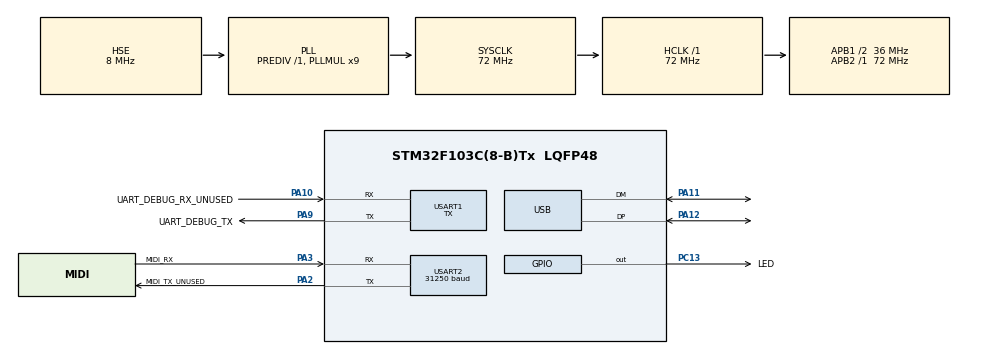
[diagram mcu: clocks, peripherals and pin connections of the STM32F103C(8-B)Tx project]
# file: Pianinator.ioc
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Mcu.Family=STM32F1
Mcu.Name=STM32F103C(8-B)Tx
Mcu.Package=LQFP48
NVIC.PriorityGroup=NVIC_PRIORITYGROUP_4
NVIC.USART1_IRQn=true\:0\:0\:false\:false\:true\:true\:true\:true
NVIC.USART2_IRQn=true\:0\:0\:false\:false\:true\:true\:true\:true
NVIC.USB_LP_CAN1_RX0_IRQn=true\:0\:0\:false\:false\:true\:false\:true\:true
PA10.GPIO_Label=UART_DEBUG_RX_UNUSED
PA10.Mode=Asynchronous
PA10.Signal=USART1_RX
PA11.Mode=Device
PA11.Signal=USB_DM
PA12.Mode=Device
PA12.Signal=USB_DP
PA2.GPIO_Label=MIDI_TX_UNUSED
PA2.Mode=Asynchronous
PA2.Signal=USART2_TX
PA3.GPIO_Label=MIDI_RX
PA3.Mode=Asynchronous
PA3.Signal=USART2_RX
PA9.GPIO_Label=UART_DEBUG_TX
PA9.Mode=Asynchronous
PA9.Signal=USART1_TX
PC13-TAMPER-RTC.GPIO_Label=LED
PC13-TAMPER-RTC.Signal=GPIO_Output
PD0-OSC_IN.Mode=HSE-External-Oscillator
PD0-OSC_IN.Signal=RCC_OSC_IN
PD1-OSC_OUT.Mode=HSE-External-Oscillator
PD1-OSC_OUT.Signal=RCC_OSC_OUT
ProjectManager.HeapSize=0x200
ProjectManager.StackSize=0x400
ProjectManager.TargetToolchain=CMake
RCC.AHBFreq_Value=72000000
RCC.APB1CLKDivider=RCC_HCLK_DIV2
RCC.APB1Freq_Value=36000000
RCC.APB1TimFreq_Value=72000000
RCC.APB2Freq_Value=72000000
RCC.APB2TimFreq_Value=72000000
RCC.HCLKFreq_Value=72000000
RCC.PLLMUL=RCC_PLL_MUL9
RCC.PLLSourceVirtual=RCC_PLLSOURCE_HSE
RCC.SYSCLKFreq_VALUE=72000000
RCC.SYSCLKSource=RCC_SYSCLKSOURCE_PLLCLK
RCC.USBFreq_Value=48000000
RCC.USBPrescaler=RCC_USBCLKSOURCE_PLL_DIV1_5
USART1.Mode=MODE_TX
USART1.VirtualMode=VM_ASYNC
USART2.BaudRate=31250
USART2.Mode=MODE_RX
USART2.VirtualMode=VM_ASYNC
USB_DEVICE.CLASS_NAME_FS=HID
USB_DEVICE.VirtualMode=Hid
USB_DEVICE.VirtualModeFS=Hid_FS
VP_SYS_VS_ND.Mode=No_Debug
VP_USB_DEVICE_VS_USB_DEVICE_HID_FS.Mode=HID_FS
board=custom

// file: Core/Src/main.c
/* USER CODE BEGIN Header */
/**
 ******************************************************************************
 * @file           : main.c
 * @brief          : Main program body
 ******************************************************************************
 * @attention
 *
 * Copyright (c) 2026 STMicroelectronics.
 * All rights reserved.
 *
 * This software is licensed under terms that can be found in the LICENSE file
 * in the root directory of this software component.
 * If no LICENSE file comes with this software, it is provided AS-IS.
 *
 ******************************************************************************
 */
/* USER CODE END Header */
#include "main.h"
#include "gpio.h"
#include "usart.h"
#include "usb_device.h"
#include "usbd_midi.h"

/* USER CODE BEGIN Includes */
#include <stdio.h>
/* USER CODE END Includes */

/* USER CODE BEGIN PV */
uint8_t midi_rx_byte;    // pojedynczy odebrany bajt z UART2
uint8_t last_status = 0; // zapamiętany ostatni status (running status)
uint8_t midi_data[2];    // bufor danych MIDI (DATA1, DATA2)
uint8_t data_count = 0;  // ile danych już odebrano

char uart_tx_buf[64]; // bufor do wysyłania tekstu na PC

const char *note_names[12] = {"C",  "C#", "D",  "D#", "E",  "F",
                              "F#", "G",  "G#", "A",  "A#", "B"};
uint8_t usb_midi_packet[4];
/* USER CODE END PV */

void SystemClock_Config(void);

/* USER CODE BEGIN 0 */
static void USB_MIDI_SendNote(uint8_t note, uint8_t velocity, uint8_t channel,
                              uint8_t note_on) {
  // sprawdzamy czy endpoint wolny
  if (USBD_MIDI_GetState(&hUsbDeviceFS) != MIDI_IDLE)
    return;

  if (note_on) {
    usb_midi_packet[0] = 0x09; // CIN: Note On
    usb_midi_packet[1] = 0x90 | (channel & 0x0F);
  } else {
    usb_midi_packet[0] = 0x08; // CIN: Note Off
    usb_midi_packet[1] = 0x80 | (channel & 0x0F);
  }

  usb_midi_packet[2] = note;
  usb_midi_packet[3] = velocity;

  USBD_MIDI_SendPackets(&hUsbDeviceFS, usb_midi_packet, MIDI_EPIN_SIZE);
}

void HAL_UART_RxCpltCallback(UART_HandleTypeDef *huart) {
  if (huart->Instance == USART2) {
    uint8_t byte = midi_rx_byte;

    if (byte & 0x80) // status byte
    {
      last_status = byte;
      data_count = 0; // reset licznika danych
    } else            // data byte
    {
      if (last_status == 0) {
        // brak statusu → ignorujemy
        goto next_byte;
      }

      midi_data[data_count++] = byte;

      // NOTE ON / OFF potrzebuje 2 bajtów danych
      uint8_t cmd = last_status & 0xF0;
      if((cmd == 0x90 || cmd == 0x80) && data_count == 2) {
        uint8_t note = midi_data[0];
        uint8_t velocity = midi_data[1];
        uint8_t channel = (last_status & 0x0F) + 1;

        uint8_t note_on = (cmd == 0x90 && velocity > 0);

        int octave = (note / 12);
        const char *name = note_names[note % 12];

        int len = snprintf(
            uart_tx_buf, sizeof(uart_tx_buf), "%s %s%d ch=%d vel=%d\r\n",
            note_on ? "NOTE ON " : "NOTE OFF", name, octave, channel, velocity);

        HAL_UART_Transmit(&huart1, (uint8_t *)uart_tx_buf, len, HAL_MAX_DELAY);

        // >>> USB MIDI <<<
        USB_MIDI_SendNote(note, velocity, channel - 1, note_on);

        data_count = 0;
      }
    }

  next_byte:
    // ponownie uruchamiamy odbiór kolejnego bajtu MIDI
    HAL_UART_Receive_IT(&huart2, &midi_rx_byte, 1);
  }
}

/* USER CODE END 0 */

int main(void) {

  /* MCU Configuration--------------------------------------------------------*/

  /* Reset of all peripherals, Initializes the Flash interface and the Systick.
   */
  HAL_Init();

  /* Configure the system clock */
  SystemClock_Config();

  /* Initialize all configured peripherals */
  MX_GPIO_Init();
  MX_USART1_UART_Init();
  MX_USART2_UART_Init();
  MX_USB_DEVICE_Init();
  /* USER CODE BEGIN 2 */
  HAL_UART_Receive_IT(&huart2, &midi_rx_byte, 1);
  /* USER CODE END 2 */

  /* Infinite loop */
  while (1) {

  }
}

void SystemClock_Config(void) {
  RCC_OscInitTypeDef RCC_OscInitStruct = {0};
  RCC_ClkInitTypeDef RCC_ClkInitStruct = {0};
  RCC_PeriphCLKInitTypeDef PeriphClkInit = {0};

  /** Initializes the RCC Oscillators according to the specified parameters
   * in the RCC_OscInitTypeDef structure.
   */
  RCC_OscInitStruct.OscillatorType = RCC_OSCILLATORTYPE_HSE;
  RCC_OscInitStruct.HSEState = RCC_HSE_ON;
  RCC_OscInitStruct.HSEPredivValue = RCC_HSE_PREDIV_DIV1;
  RCC_OscInitStruct.HSIState = RCC_HSI_ON;
  RCC_OscInitStruct.PLL.PLLState = RCC_PLL_ON;
  RCC_OscInitStruct.PLL.PLLSource = RCC_PLLSOURCE_HSE;
  RCC_OscInitStruct.PLL.PLLMUL = RCC_PLL_MUL9;
  if (HAL_RCC_OscConfig(&RCC_OscInitStruct) != HAL_OK) {
    Error_Handler();
  }

  /** Initializes the CPU, AHB and APB buses clocks
   */
  RCC_ClkInitStruct.ClockType = RCC_CLOCKTYPE_HCLK | RCC_CLOCKTYPE_SYSCLK |
                                RCC_CLOCKTYPE_PCLK1 | RCC_CLOCKTYPE_PCLK2;
  RCC_ClkInitStruct.SYSCLKSource = RCC_SYSCLKSOURCE_PLLCLK;
  RCC_ClkInitStruct.AHBCLKDivider = RCC_SYSCLK_DIV1;
  RCC_ClkInitStruct.APB1CLKDivider = RCC_HCLK_DIV2;
  RCC_ClkInitStruct.APB2CLKDivider = RCC_HCLK_DIV1;

  if (HAL_RCC_ClockConfig(&RCC_ClkInitStruct, FLASH_LATENCY_2) != HAL_OK) {
    Error_Handler();
  }
  PeriphClkInit.PeriphClockSelection = RCC_PERIPHCLK_USB;
  PeriphClkInit.UsbClockSelection = RCC_USBCLKSOURCE_PLL_DIV1_5;
  if (HAL_RCCEx_PeriphCLKConfig(&PeriphClkInit) != HAL_OK) {
    Error_Handler();
  }
}

void Error_Handler(void) {
  __disable_irq();
  while (1) {
  }
}
#ifdef USE_FULL_ASSERT
/**
 * @brief  Reports the name of the source file and the source line number
 *         where the assert_param error has occurred.
 * @param  file: pointer to the source file name
 * @param  line: assert_param error line source number
 * @retval None
 */
void assert_failed(uint8_t *file, uint32_t line) {
  /* USER CODE BEGIN 6 */
  /* User can add his own implementation to report the file name and line
     number, ex: printf("Wrong parameters value: file %s on line %d\r\n", file,
     line) */
  /* USER CODE END 6 */
}
#endif /* USE_FULL_ASSERT */
